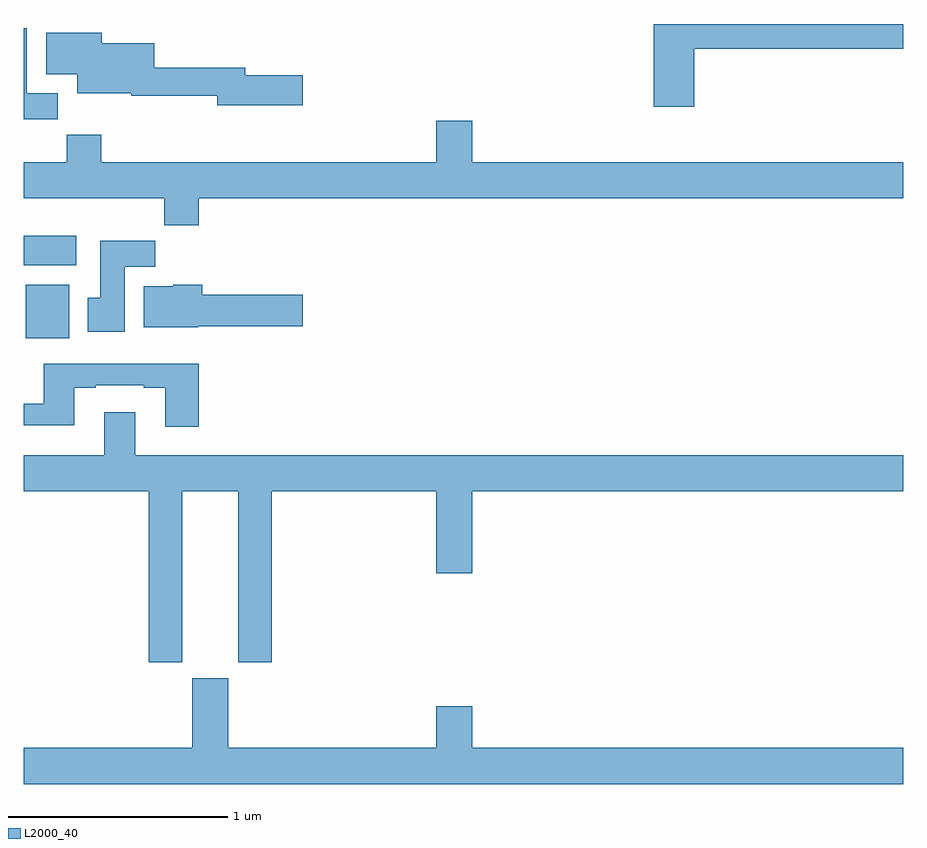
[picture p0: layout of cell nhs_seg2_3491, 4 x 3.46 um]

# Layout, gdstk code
import gdstk
lib = gdstk.Library(unit=1e-6, precision=1e-09)
def R(c, l, rs):  # rectangles x0, y0, x1, y1
    for r in rs: c.add(gdstk.rectangle(r[:2], r[2:], *l))
def P(c, l, *ps):  # polygons
    for p in ps: c.add(gdstk.Polygon(p, *l))
L2000_40 = (2000, 40)

nhs_seg2_3491 = lib.new_cell('nhs_seg2_3491')
R(nhs_seg2_3491, L2000_40, [(295.01,608.372,295.207,608.614), (295,608.702,295.24,608.836)])
P(nhs_seg2_3491, L2000_40, [(298.049,609.688),(299,609.688),(299,609.8),(297.866,609.8),(297.866,609.423),(298.049,609.423)],
  [(295.154,609.484),(295.015,609.484),(295.015,609.781),(295,609.781),(295,609.366),(295.154,609.366)],
  [(296.269,609.566),(296.008,609.566),(296.008,609.602),(295.594,609.602),(295.594,609.712),(295.354,609.712),(295.354,609.76),(295.103,609.76),(295.103,609.572),(295.244,609.572),(295.244,609.485),(295.49,609.485),(295.49,609.474),(295.88,609.474),(295.88,609.431),(296.269,609.431)],
  [(295.796,609.008),(299,609.008),(299,609.172),(297.04,609.172),(297.04,609.361),(296.876,609.361),(296.876,609.172),(295.352,609.172),(295.352,609.296),(295.195,609.296),(295.195,609.172),(295,609.172),(295,609.008),(295.639,609.008),(295.639,608.884),(295.796,608.884)],
  [(295.459,608.696),(295.598,608.696),(295.598,608.815),(295.349,608.815),(295.349,608.556),(295.292,608.556),(295.292,608.4),(295.459,608.4)],
  [(295.794,608.426),(296.269,608.426),(296.269,608.568),(295.811,608.568),(295.811,608.614),(295.68,608.614),(295.68,608.608),(295.547,608.608),(295.547,608.42),(295.794,608.42)],
  [(295.796,608.254),(295.091,608.254),(295.091,608.073),(295,608.073),(295,607.976),(295.231,607.976),(295.231,608.145),(295.327,608.145),(295.327,608.157),(295.547,608.157),(295.547,608.145),(295.643,608.145),(295.643,607.968),(295.796,607.968)],
  [(295.72,607.676),(295.976,607.676),(295.976,606.897),(296.129,606.897),(296.129,607.676),(296.876,607.676),(296.876,607.302),(297.04,607.302),(297.04,607.676),(299,607.676),(299,607.84),(295.507,607.84),(295.507,608.035),(295.367,608.035),(295.367,607.84),(295,607.84),(295,607.676),(295.568,607.676),(295.568,606.897),(295.72,606.897)],
  [(299,606.508),(297.04,606.508),(297.04,606.697),(296.876,606.697),(296.876,606.508),(295.93,606.508),(295.93,606.825),(295.766,606.825),(295.766,606.508),(295,606.508),(295,606.344),(299,606.344)])

lib.write_gds('nhs_seg2_3491.gds')
